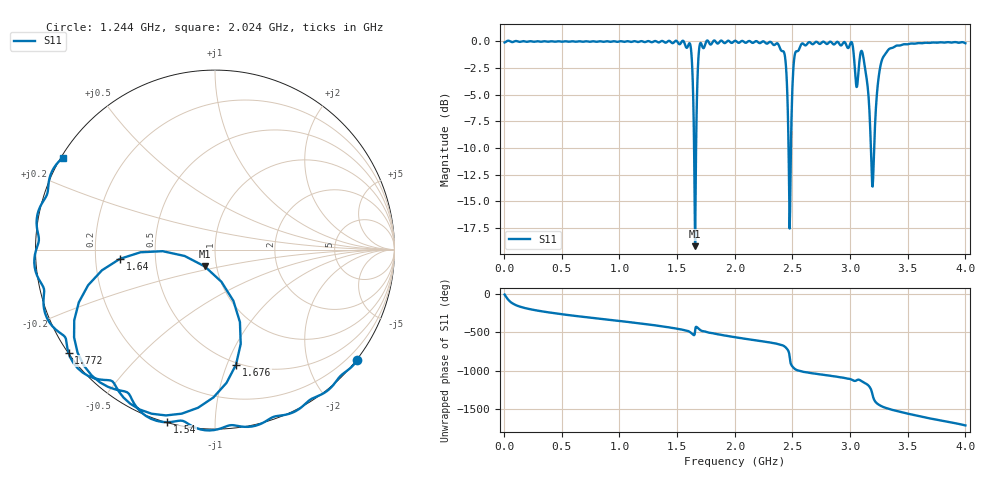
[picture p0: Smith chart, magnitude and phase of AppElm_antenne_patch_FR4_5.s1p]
! TOUCHSTONE file generated by CST MICROWAVE STUDIO
! Date and time: Tue Jun 14 11:51:01 2022
! Project name: AppElm_antenne_patch_FR4.cst
! Parameters = {L=42.75; W=58.5; e=0.035; h=1.6; lambda=0.190476; ls=120; w0=2.54; w1=0.847; ws=120; y0=18; y1=23.8}
! Header version: 2018
! Port assignment regex: !\s*Touchstone port\s*([0-9]+)\s*=\s*(CST MWS port|CST DS port)\s*([0-9]+|Zmin|Zmax)\s*\(\"(.*)\"\)(\s*mode\s*([0-9]+))?.*
! Touchstone port assignment:
! Touchstone port 1 = CST MWS port 1 ("")
# GHz S MA R 50
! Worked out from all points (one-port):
!   1000 points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, 4 MHz to 4 GHz, reference 50 ohm
!   lowest |S11| = -19.2 dB at 1.656 GHz (marker M1), VSWR 1.25, Z = 43.9 - j8.32 ohm
!   |S11| at or under -10 dB: 1.647 GHz to 1.664 GHz (17.4 MHz wide, 1.05 % of centre); 2.466 GHz to 2.487 GHz (20.71 MHz wide, 0.836 % of centre); 3.18 GHz to 3.209 GHz (28.33 MHz wide, 0.887 % of centre)
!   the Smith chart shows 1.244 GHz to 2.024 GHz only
!   S11 on the Smith chart (normalised r, x): 1.244 GHz: -0.02, -2.91; 1.54 GHz: 0.00, -0.76; 1.64 GHz: 0.31, -0.04; 1.676 GHz: 0.48, -1.08; 1.772 GHz: 0.00, -0.32; 2.024 GHz: 0.00, +0.28
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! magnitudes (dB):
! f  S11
! 4 MHz  -0.1
! 504 MHz  0.0
! 1.004 GHz  0.0
! 1.244 GHz  0.0
! 1.504 GHz  -0.1
! 1.54 GHz  0.0
! 1.612 GHz  -0.2
! 1.64 GHz  -5.5
! 1.656 GHz  -19.2
! 1.676 GHz  -3.7
! 1.7 GHz  -0.2
! 1.772 GHz  0.0
! 2.004 GHz  0.1
! 2.024 GHz  -0.1
! 2.416 GHz  -0.9
! 2.44 GHz  -1.8
! 2.476 GHz  -17.5
! 2.504 GHz  -3.3
! 2.524 GHz  -1.1
! 2.58 GHz  -0.2
! 3.004 GHz  -0.1
! 3.056 GHz  -4.3
! 3.12 GHz  -1.8
! 3.196 GHz  -13.6
! 3.24 GHz  -4.1
! 3.276 GHz  -1.7
! 3.504 GHz  -0.3
! 4 GHz  -0.2
